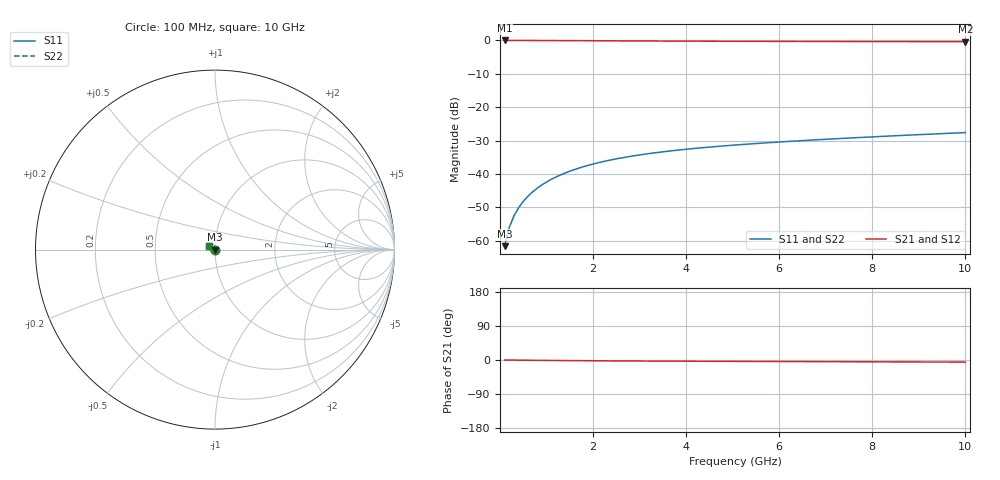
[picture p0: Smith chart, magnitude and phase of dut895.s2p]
! Touchstone file exported from HFSS 2024.1.0
!  File:  C:/UserFiles/LocalFiles/RDL_TSV_Batchsim/temp_TSV1_895_1779885246.aedt
!  Generated:  08:39:14 PM May 27, 2026
!  Design:  TSV1
!  Project:  temp_TSV1_895_1779885246
!  Setup:  Setup1
!  Solution:  Sweep
! Variables:
!  dtsv = 6.88um
!  hbump = 3um
!  htsv = 83.18um
!  lrdl = 252.1521522um
!  p = 40
!  p1 = 52.52um
!  t = 500um
!  trdl = 3um
!  wrdl = 24.89489489um
# GHz S MA R 50.000000
! Terminal data exported
! Port[1] = TSV22_T1
! Port[2] = TSV22_T2
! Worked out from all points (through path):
!   100 points, 100 MHz to 10 GHz, reference 50 ohm
!   highest |S21| = 0.00 dB at 100 MHz (marker M1); lowest = -0.4 dB at 10 GHz (marker M2)
!   lowest |S11| = -61.7 dB at 100 MHz (marker M3), VSWR 1.00, Z = 50 - j0.0775 ohm
!   |S11| at or under -10 dB: start of sweep to end of sweep
!   |S22| runs from -61.7 to -27.6 dB; largest |S21 - S12| = 7.4e-15
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0.1  0.0008242 -70.1  0.9997 -0.1  0.9997 -0.1  0.0008242 -70.1
! Gamma 0 0 0 0
! Port Impedance 50 0 50 0
0.2  0.001574 -82.9  0.9996 -0.2  0.9996 -0.2  0.001574 -82.9
0.3  0.002336 -88.8  0.9994 -0.3  0.9994 -0.3  0.002336 -88.8
0.4  0.003099 -92.9  0.9992 -0.4  0.9992 -0.4  0.003099 -92.9
0.5  0.003858 -96.1  0.9989 -0.6  0.9989 -0.6  0.003858 -96.1
0.6  0.004611 -99.0  0.9986 -0.7  0.9986 -0.7  0.004611 -99.0
0.7  0.005358 -101.7  0.9982 -0.8  0.9982 -0.8  0.005358 -101.7
0.8  0.006096 -104.2  0.9978 -0.9  0.9978 -0.9  0.006096 -104.2
0.9  0.006825 -106.6  0.9974 -1.0  0.9974 -1.0  0.006825 -106.6
1.1  0.008251 -111.2  0.9963 -1.2  0.9963 -1.2  0.008251 -111.2
1.4  0.0103 -117.6  0.9945 -1.5  0.9945 -1.5  0.0103 -117.6
1.6  0.0116 -121.7  0.9932 -1.7  0.9932 -1.7  0.0116 -121.7
1.8  0.01285 -125.6  0.9918 -1.8  0.9918 -1.8  0.01285 -125.6
2.1  0.01461 -131.3  0.9896 -2.1  0.9896 -2.1  0.01461 -131.3
2.5  0.01678 -138.3  0.9866 -2.3  0.9866 -2.3  0.01678 -138.3
2.9  0.01876 -144.8  0.9837 -2.6  0.9837 -2.6  0.01876 -144.8
3.4  0.02098 -152.3  0.9803 -2.9  0.9803 -2.9  0.02098 -152.3
4.2  0.02411 -162.9  0.9756 -3.3  0.9756 -3.3  0.02411 -162.9
5.1  0.0272 -173.2  0.9713 -3.6  0.9713 -3.6  0.0272 -173.2
6.7  0.0321 171.9  0.9657 -4.3  0.9657 -4.3  0.0321 171.9
8.4  0.037 159.6  0.9618 -4.9  0.9618 -4.9  0.037 159.6
10  0.04156 150.3  0.9592 -5.5  0.9592 -5.5  0.04156 150.3
